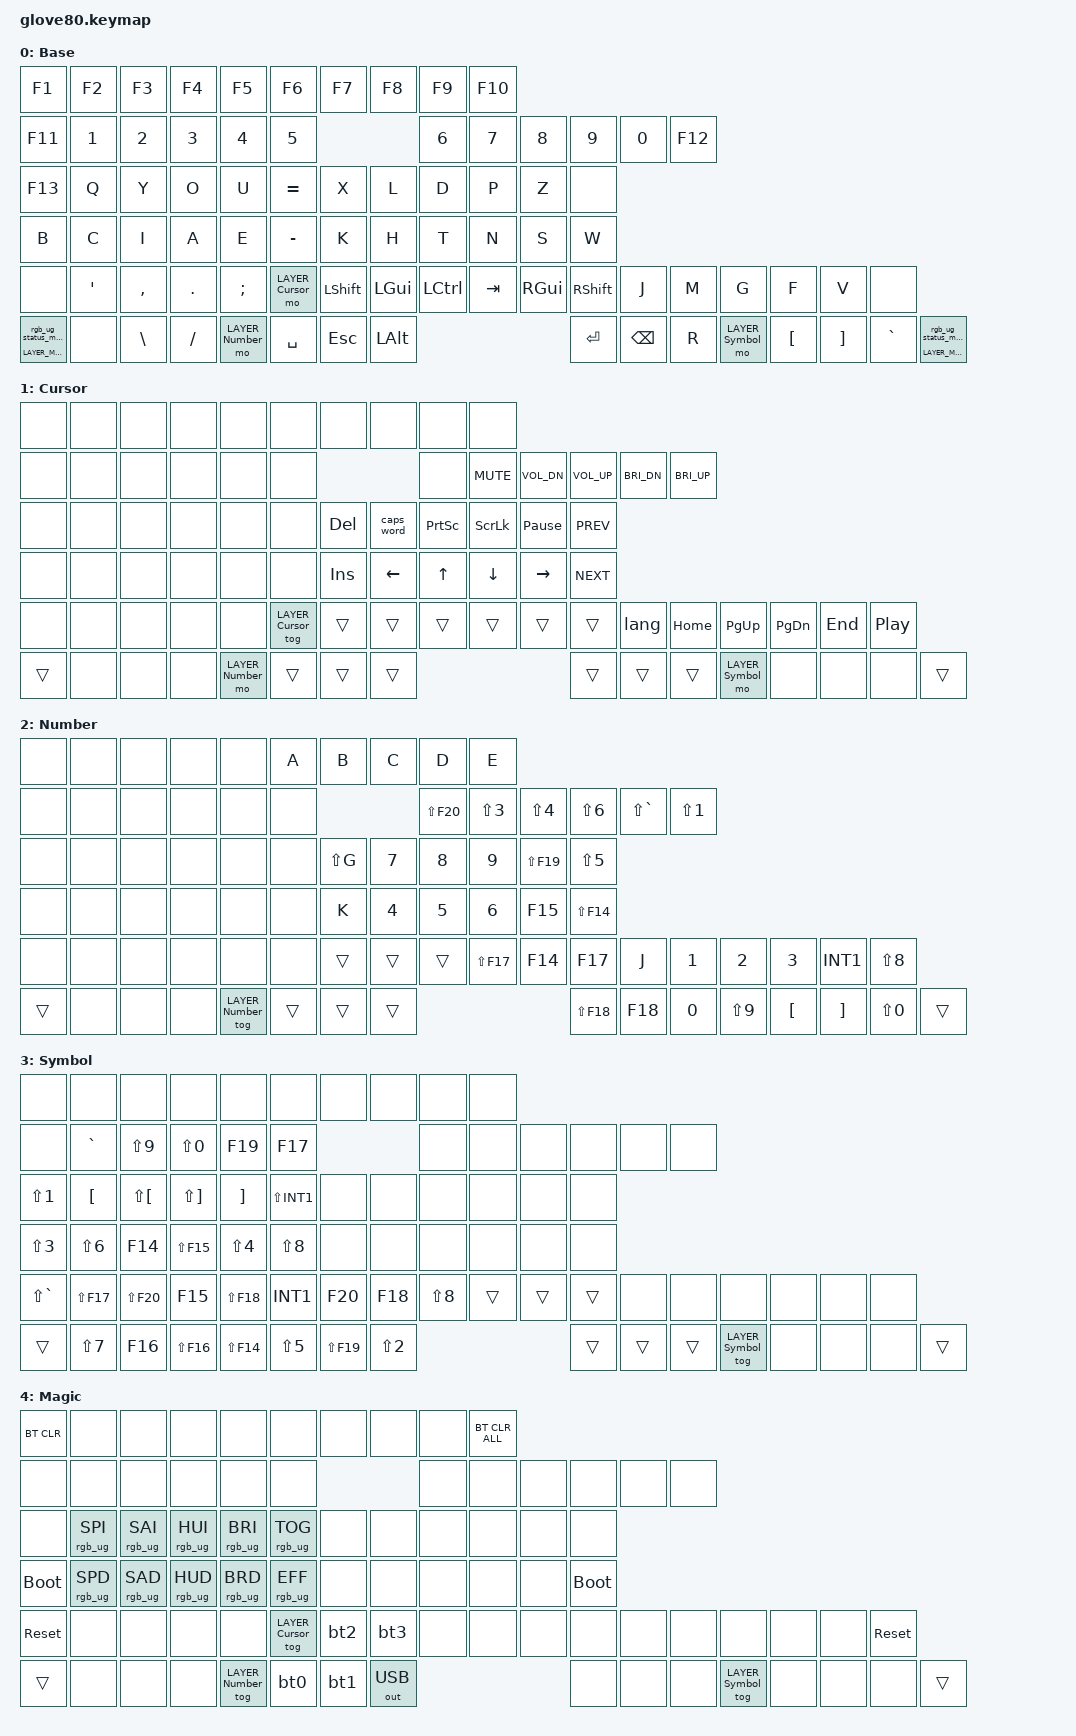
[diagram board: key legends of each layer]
/* Generated by `just generate` from config/. Do not edit. */
#include <behaviors.dtsi>
#include <dt-bindings/zmk/keys.h>
#include <dt-bindings/zmk/bt.h>
#include <dt-bindings/zmk/outputs.h>
#include <dt-bindings/zmk/rgb.h>
#define LAYER_Base 0
#define LAYER_Cursor 1
#define LAYER_Number 2
#define LAYER_Symbol 3
#define LAYER_Magic 4
/ {
/* Behaviors referenced from config/layout.json. Plain ZMK, no custom module. */
behaviors {
    /* MoErgo's Magic key: hold for the Magic layer, tap for the RGB status display. */
    magic: magic_hold_tap {
        compatible = "zmk,behavior-hold-tap"; #binding-cells = <2>;
        flavor = "tap-preferred"; tapping-term-ms = <200>;
        bindings = <&mo>, <&rgb_ug_status_macro>;
    };
};
macros {
    rgb_ug_status_macro: rgb_ug_status_macro {
        compatible = "zmk,behavior-macro"; #binding-cells = <0>;
        bindings = <&rgb_ug RGB_STATUS>;
    };
    /* English/Russian: macOS "Select the previous input source". Both Shifts together are Caps Lock (combo in the keymap). */
    lang: lang { compatible = "zmk,behavior-macro"; #binding-cells = <0>; bindings = <&kp LC(SPACE)>; };
    bt0: bt0 { compatible = "zmk,behavior-macro"; #binding-cells = <0>; bindings = <&out OUT_BLE>, <&bt BT_SEL 0>; };
    bt1: bt1 { compatible = "zmk,behavior-macro"; #binding-cells = <0>; bindings = <&out OUT_BLE>, <&bt BT_SEL 1>; };
    bt2: bt2 { compatible = "zmk,behavior-macro"; #binding-cells = <0>; bindings = <&out OUT_BLE>, <&bt BT_SEL 2>; };
    bt3: bt3 { compatible = "zmk,behavior-macro"; #binding-cells = <0>; bindings = <&out OUT_BLE>, <&bt BT_SEL 3>; };
};
    keymap {
        compatible = "zmk,keymap";
        base_layer {
            label = "Base";
            bindings = <
                &kp F1  &kp F2  &kp F3  &kp F4  &kp F5  &kp F6  &kp F7  &kp F8  &kp F9  &kp F10
                &kp F11  &kp N1  &kp N2  &kp N3  &kp N4  &kp N5  &kp N6  &kp N7  &kp N8  &kp N9  &kp N0  &kp F12
                &kp F13  &kp Q  &kp Y  &kp O  &kp U  &kp EQUAL  &kp X  &kp L  &kp D  &kp P  &kp Z  &none
                &kp B  &kp C  &kp I  &kp A  &kp E  &kp MINUS  &kp K  &kp H  &kp T  &kp N  &kp S  &kp W
                &none  &kp SQT  &kp COMMA  &kp DOT  &kp SEMI  &mo LAYER_Cursor  &kp LSHFT  &kp LGUI  &kp LCTRL  &kp TAB  &kp RGUI  &kp RSHFT  &kp J  &kp M  &kp G  &kp F  &kp V  &none
                &magic LAYER_Magic 0  &none  &kp BSLH  &kp FSLH  &mo LAYER_Number  &kp SPACE  &kp ESC  &kp LALT  &kp RET  &kp BSPC  &kp R  &mo LAYER_Symbol  &kp LBKT  &kp RBKT  &kp GRAVE  &magic LAYER_Magic 0
            >;
        };
        cursor_layer {
            label = "Cursor";
            bindings = <
                &none  &none  &none  &none  &none  &none  &none  &none  &none  &none
                &none  &none  &none  &none  &none  &none  &none  &kp C_MUTE  &kp C_VOL_DN  &kp C_VOL_UP  &kp C_BRI_DN  &kp C_BRI_UP
                &none  &none  &none  &none  &none  &none  &kp DEL  &caps_word  &kp PSCRN  &kp SCROLLLOCK  &kp PAUSE_BREAK  &kp C_PREV
                &none  &none  &none  &none  &none  &none  &kp INS  &kp LEFT  &kp UP  &kp DOWN  &kp RIGHT  &kp C_NEXT
                &none  &none  &none  &none  &none  &tog LAYER_Cursor  &trans  &trans  &trans  &trans  &trans  &trans  &lang  &kp HOME  &kp PG_UP  &kp PG_DN  &kp END  &kp C_PP
                &trans  &none  &none  &none  &mo LAYER_Number  &trans  &trans  &trans  &trans  &trans  &trans  &mo LAYER_Symbol  &none  &none  &none  &trans
            >;
        };
        number_layer {
            label = "Number";
            bindings = <
                &none  &none  &none  &none  &none  &kp A  &kp B  &kp C  &kp D  &kp E
                &none  &none  &none  &none  &none  &none  &kp LS(F20)  &kp LS(N3)  &kp LS(N4)  &kp LS(N6)  &kp LS(GRAVE)  &kp LS(N1)
                &none  &none  &none  &none  &none  &none  &kp LS(G)  &kp N7  &kp N8  &kp N9  &kp LS(F19)  &kp LS(N5)
                &none  &none  &none  &none  &none  &none  &kp K  &kp N4  &kp N5  &kp N6  &kp F15  &kp LS(F14)
                &none  &none  &none  &none  &none  &none  &trans  &trans  &trans  &kp LS(F17)  &kp F14  &kp F17  &kp J  &kp N1  &kp N2  &kp N3  &kp INT1  &kp LS(N8)
                &trans  &none  &none  &none  &tog LAYER_Number  &trans  &trans  &trans  &kp LS(F18)  &kp F18  &kp N0  &kp LS(N9)  &kp LBKT  &kp RBKT  &kp LS(N0)  &trans
            >;
        };
        symbol_layer {
            label = "Symbol";
            bindings = <
                &none  &none  &none  &none  &none  &none  &none  &none  &none  &none
                &none  &kp GRAVE  &kp LS(N9)  &kp LS(N0)  &kp F19  &kp F17  &none  &none  &none  &none  &none  &none
                &kp LS(N1)  &kp LBKT  &kp LS(LBKT)  &kp LS(RBKT)  &kp RBKT  &kp LS(INT1)  &none  &none  &none  &none  &none  &none
                &kp LS(N3)  &kp LS(N6)  &kp F14  &kp LS(F15)  &kp LS(N4)  &kp LS(N8)  &none  &none  &none  &none  &none  &none
                &kp LS(GRAVE)  &kp LS(F17)  &kp LS(F20)  &kp F15  &kp LS(F18)  &kp INT1  &kp F20  &kp F18  &kp LS(N8)  &trans  &trans  &trans  &none  &none  &none  &none  &none  &none
                &trans  &kp LS(N7)  &kp F16  &kp LS(F16)  &kp LS(F14)  &kp LS(N5)  &kp LS(F19)  &kp LS(N2)  &trans  &trans  &trans  &tog LAYER_Symbol  &none  &none  &none  &trans
            >;
        };
        magic_layer {
            label = "Magic";
            bindings = <
                &bt BT_CLR  &none  &none  &none  &none  &none  &none  &none  &none  &bt BT_CLR_ALL
                &none  &none  &none  &none  &none  &none  &none  &none  &none  &none  &none  &none
                &none  &rgb_ug RGB_SPI  &rgb_ug RGB_SAI  &rgb_ug RGB_HUI  &rgb_ug RGB_BRI  &rgb_ug RGB_TOG  &none  &none  &none  &none  &none  &none
                &bootloader  &rgb_ug RGB_SPD  &rgb_ug RGB_SAD  &rgb_ug RGB_HUD  &rgb_ug RGB_BRD  &rgb_ug RGB_EFF  &none  &none  &none  &none  &none  &bootloader
                &sys_reset  &none  &none  &none  &none  &tog LAYER_Cursor  &bt2  &bt3  &none  &none  &none  &none  &none  &none  &none  &none  &none  &sys_reset
                &trans  &none  &none  &none  &tog LAYER_Number  &bt0  &bt1  &out OUT_USB  &none  &none  &none  &tog LAYER_Symbol  &none  &none  &none  &trans
            >;
        };
    };
    combos {
        compatible = "zmk,combos";
        caps { key-positions = <52 57>; bindings = <&kp CAPS>; layers = <0>; };
    };
    underglow-layer {
        compatible = "zmk,underglow-layer";
        base_rgb {
            layer-id = <0>;
            bindings = <
                &ug 0xf0c6c6  &ug 0xf0c6c6  &ug 0xf0c6c6  &ug 0xf0c6c6  &ug 0xf0c6c6  &ug 0xf0c6c6  &ug 0xf0c6c6  &ug 0xf0c6c6  &ug 0xf0c6c6  &ug 0xf0c6c6
                &ug 0xf0c6c6  &ug 0xeed49f  &ug 0xeed49f  &ug 0xeed49f  &ug 0xeed49f  &ug 0xeed49f  &ug 0xeed49f  &ug 0xeed49f  &ug 0xeed49f  &ug 0xeed49f  &ug 0xeed49f  &ug 0xf0c6c6
                &ug 0x000000  &ug 0x8bd5ca  &ug 0x8bd5ca  &ug 0x8bd5ca  &ug 0x8bd5ca  &ug 0xa6da95  &ug 0x8bd5ca  &ug 0x8bd5ca  &ug 0x8bd5ca  &ug 0x8bd5ca  &ug 0x8bd5ca  &ug 0x000000
                &ug 0x8bd5ca  &ug 0x8bd5ca  &ug 0x8bd5ca  &ug 0x8bd5ca  &ug 0x8bd5ca  &ug 0xa6da95  &ug 0x8bd5ca  &ug 0x8bd5ca  &ug 0x8bd5ca  &ug 0x8bd5ca  &ug 0x8bd5ca  &ug 0x8bd5ca
                &ug 0x000000  &ug 0xa6da95  &ug 0xa6da95  &ug 0xa6da95  &ug 0xa6da95  &ug 0xc6a0f6  &ug 0xeed49f  &ug 0xf5bde6  &ug 0xa6da95  &ug 0x8aadf4  &ug 0xf5bde6  &ug 0xeed49f  &ug 0x8bd5ca  &ug 0x8bd5ca  &ug 0x8bd5ca  &ug 0x8bd5ca  &ug 0x8bd5ca  &ug 0x000000
                &ug 0xc6a0f6  &ug 0x000000  &ug 0xa6da95  &ug 0xa6da95  &ug 0xc6a0f6  &ug 0x8aadf4  &ug 0xed8796  &ug 0x91d7e3  &ug 0x8aadf4  &ug 0xed8796  &ug 0x8bd5ca  &ug 0xc6a0f6  &ug 0xa6da95  &ug 0xa6da95  &ug 0xa6da95  &ug 0xc6a0f6
            >;
        };
        cursor_rgb {
            layer-id = <1>;
            bindings = <
                &ug 0x000000  &ug 0x000000  &ug 0x000000  &ug 0x000000  &ug 0x000000  &ug 0x000000  &ug 0x000000  &ug 0x000000  &ug 0x000000  &ug 0x000000
                &ug 0x000000  &ug 0x000000  &ug 0x000000  &ug 0x000000  &ug 0x000000  &ug 0x000000  &ug 0x000000  &ug 0x8bd5ca  &ug 0x8bd5ca  &ug 0x8bd5ca  &ug 0x8bd5ca  &ug 0x8bd5ca
                &ug 0x000000  &ug 0x000000  &ug 0x000000  &ug 0x000000  &ug 0x000000  &ug 0x000000  &ug 0xed8796  &ug 0xeed49f  &ug 0x8bd5ca  &ug 0x8bd5ca  &ug 0x8bd5ca  &ug 0x8bd5ca
                &ug 0x000000  &ug 0x000000  &ug 0x000000  &ug 0x000000  &ug 0x000000  &ug 0x000000  &ug 0x91d7e3  &ug 0x91d7e3  &ug 0x91d7e3  &ug 0x91d7e3  &ug 0x91d7e3  &ug 0x8bd5ca
                &ug 0x000000  &ug 0x000000  &ug 0x000000  &ug 0x000000  &ug 0x000000  &ug 0xc6a0f6  &ug 0xeed49f  &ug 0xf5bde6  &ug 0xa6da95  &ug 0x8aadf4  &ug 0xf5bde6  &ug 0xeed49f  &ug 0xb7bdf8  &ug 0x91d7e3  &ug 0x91d7e3  &ug 0x91d7e3  &ug 0x91d7e3  &ug 0x8bd5ca
                &ug 0xc6a0f6  &ug 0x000000  &ug 0x000000  &ug 0x000000  &ug 0xc6a0f6  &ug 0x8aadf4  &ug 0xed8796  &ug 0x91d7e3  &ug 0x8aadf4  &ug 0xed8796  &ug 0x8bd5ca  &ug 0xc6a0f6  &ug 0x000000  &ug 0x000000  &ug 0x000000  &ug 0xc6a0f6
            >;
        };
        number_rgb {
            layer-id = <2>;
            bindings = <
                &ug 0x000000  &ug 0x000000  &ug 0x000000  &ug 0x000000  &ug 0x000000  &ug 0xeed49f  &ug 0xeed49f  &ug 0xeed49f  &ug 0xeed49f  &ug 0xeed49f
                &ug 0x000000  &ug 0x000000  &ug 0x000000  &ug 0x000000  &ug 0x000000  &ug 0x000000  &ug 0xa6da95  &ug 0xeed49f  &ug 0xeed49f  &ug 0xeed49f  &ug 0xc6a0f6  &ug 0xc6a0f6
                &ug 0x000000  &ug 0x000000  &ug 0x000000  &ug 0x000000  &ug 0x000000  &ug 0x000000  &ug 0x8bd5ca  &ug 0xeed49f  &ug 0xeed49f  &ug 0xeed49f  &ug 0xeed49f  &ug 0xeed49f
                &ug 0x000000  &ug 0x000000  &ug 0x000000  &ug 0x000000  &ug 0x000000  &ug 0x000000  &ug 0x8bd5ca  &ug 0xeed49f  &ug 0xeed49f  &ug 0xeed49f  &ug 0xa6da95  &ug 0x8aadf4
                &ug 0x000000  &ug 0x000000  &ug 0x000000  &ug 0x000000  &ug 0x000000  &ug 0x000000  &ug 0xeed49f  &ug 0xf5bde6  &ug 0xa6da95  &ug 0xa6da95  &ug 0xa6da95  &ug 0x8bd5ca  &ug 0x8bd5ca  &ug 0xeed49f  &ug 0xeed49f  &ug 0xeed49f  &ug 0xeed49f  &ug 0xeed49f
                &ug 0xc6a0f6  &ug 0x000000  &ug 0x000000  &ug 0x000000  &ug 0xc6a0f6  &ug 0x8aadf4  &ug 0xed8796  &ug 0x91d7e3  &ug 0xa6da95  &ug 0x8bd5ca  &ug 0xeed49f  &ug 0x91d7e3  &ug 0x91d7e3  &ug 0x91d7e3  &ug 0x91d7e3  &ug 0xc6a0f6
            >;
        };
        symbol_rgb {
            layer-id = <3>;
            bindings = <
                &ug 0x000000  &ug 0x000000  &ug 0x000000  &ug 0x000000  &ug 0x000000  &ug 0x000000  &ug 0x000000  &ug 0x000000  &ug 0x000000  &ug 0x000000
                &ug 0x000000  &ug 0xf5bde6  &ug 0x91d7e3  &ug 0x91d7e3  &ug 0x8bd5ca  &ug 0x8bd5ca  &ug 0x000000  &ug 0x000000  &ug 0x000000  &ug 0x000000  &ug 0x000000  &ug 0x000000
                &ug 0xc6a0f6  &ug 0x91d7e3  &ug 0x91d7e3  &ug 0x91d7e3  &ug 0x91d7e3  &ug 0xeed49f  &ug 0x000000  &ug 0x000000  &ug 0x000000  &ug 0x000000  &ug 0x000000  &ug 0x000000
                &ug 0xeed49f  &ug 0xeed49f  &ug 0xa6da95  &ug 0x8aadf4  &ug 0xeed49f  &ug 0xeed49f  &ug 0x000000  &ug 0x000000  &ug 0x000000  &ug 0x000000  &ug 0x000000  &ug 0x000000
                &ug 0xc6a0f6  &ug 0xa6da95  &ug 0xa6da95  &ug 0xa6da95  &ug 0xa6da95  &ug 0xeed49f  &ug 0xc6a0f6  &ug 0x8bd5ca  &ug 0xeed49f  &ug 0x8aadf4  &ug 0xf5bde6  &ug 0xeed49f  &ug 0x000000  &ug 0x000000  &ug 0x000000  &ug 0x000000  &ug 0x000000  &ug 0x000000
                &ug 0xc6a0f6  &ug 0x8aadf4  &ug 0xf5bde6  &ug 0xf5bde6  &ug 0x8aadf4  &ug 0xeed49f  &ug 0xeed49f  &ug 0xeed49f  &ug 0x8aadf4  &ug 0xed8796  &ug 0x8bd5ca  &ug 0xc6a0f6  &ug 0x000000  &ug 0x000000  &ug 0x000000  &ug 0xc6a0f6
            >;
        };
        magic_rgb {
            layer-id = <4>;
            bindings = <
                &ug 0x7dc4e4  &ug 0x000000  &ug 0x000000  &ug 0x000000  &ug 0x000000  &ug 0x000000  &ug 0x000000  &ug 0x000000  &ug 0x000000  &ug 0x7dc4e4
                &ug 0x000000  &ug 0x000000  &ug 0x000000  &ug 0x000000  &ug 0x000000  &ug 0x000000  &ug 0x000000  &ug 0x000000  &ug 0x000000  &ug 0x000000  &ug 0x000000  &ug 0x000000
                &ug 0x000000  &ug 0xf5a97f  &ug 0xf5a97f  &ug 0xf5a97f  &ug 0xf5a97f  &ug 0xf5a97f  &ug 0x000000  &ug 0x000000  &ug 0x000000  &ug 0x000000  &ug 0x000000  &ug 0x000000
                &ug 0xee99a0  &ug 0xf5a97f  &ug 0xf5a97f  &ug 0xf5a97f  &ug 0xf5a97f  &ug 0xf5a97f  &ug 0x000000  &ug 0x000000  &ug 0x000000  &ug 0x000000  &ug 0x000000  &ug 0xee99a0
                &ug 0xee99a0  &ug 0x000000  &ug 0x000000  &ug 0x000000  &ug 0x000000  &ug 0xc6a0f6  &ug 0x7dc4e4  &ug 0x7dc4e4  &ug 0x000000  &ug 0x000000  &ug 0x000000  &ug 0x000000  &ug 0x000000  &ug 0x000000  &ug 0x000000  &ug 0x000000  &ug 0x000000  &ug 0xee99a0
                &ug 0xc6a0f6  &ug 0x000000  &ug 0x000000  &ug 0x000000  &ug 0xc6a0f6  &ug 0x7dc4e4  &ug 0x7dc4e4  &ug 0x7dc4e4  &ug 0x000000  &ug 0x000000  &ug 0x000000  &ug 0xc6a0f6  &ug 0x000000  &ug 0x000000  &ug 0x000000  &ug 0xc6a0f6
            >;
        };
    };
};
